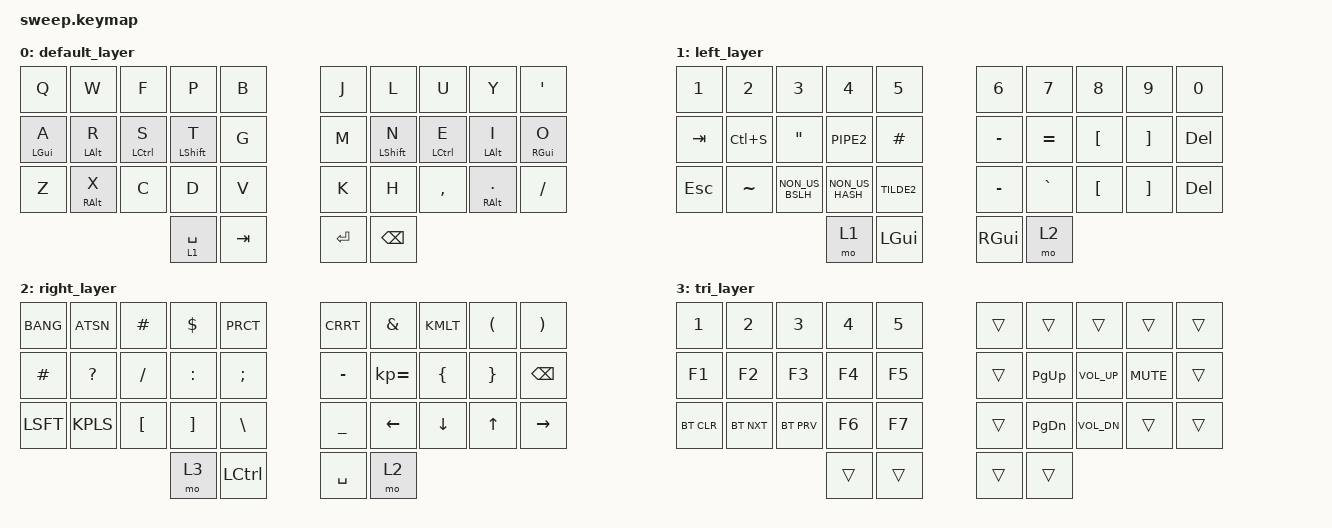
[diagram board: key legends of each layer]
/*
 * Copyright (c) 2020 The ZMK Contributors
 *
 * SPDX-License-Identifier: MIT
 */

#include <behaviors.dtsi>
#include <dt-bindings/zmk/keys.h>
#include <dt-bindings/zmk/bt.h>

/ {
	behaviors {
		hm: homerow_mods {
			compatible = "zmk,behavior-hold-tap";
			label = "HOMEROW_MODS";
			#binding-cells = <2>;
			tapping-term-ms = <150>;
			quick-tap-ms = <0>;
			flavor = "tap-preferred";
			bindings = <&kp>, <&kp>;
		};
	};
};

&mt {
	// flavor = "tap-preferred";
	// tapping_term_ms = <200>;
};

/ {
	combos {
		compatible = "zmk,combos";
		combo_esc {
			timeout-ms = <50>;
			key-positions = <0 1>;
			bindings = <&kp ESC>;
		};

		combo_tab {
			timeout-ms = <50>;
			key-positions = <10 11>;
			bindings = <&kp TAB>;
		};

		combo_ralt {
			timeout-ms = <50>;
			key-positions = <17 16>;
			bindings = <&kp RALT>;
		};

		combo_lalt {
			timeout-ms = <50>;
			key-positions = <11 12>;
			bindings = <&kp LALT>;
		};

		combo_lgui {
			timeout-ms = <50>;
			key-positions = <12 13>;
			bindings = <&kp LGUI>;
		};

		combo_rgui {
			timeout-ms = <50>;
			key-positions = <17 18>;
			bindings = <&kp RGUI>;
		};
	};

	keymap {
		compatible = "zmk,keymap";

		default_layer {
			bindings = <
				&kp Q 		&kp W		&kp F		&kp P		&kp B		&kp J	&kp L		&kp U			&kp Y			&kp APOS
				&hm LGUI A	&hm LALT R	&hm LCTRL S	&hm LSHFT T	&kp G		&kp M	&hm LSHFT N	&hm LCTRL E		&hm LALT I		&hm RGUI O
				&kp Z		&hm RALT X	&kp C		&kp D		&kp V		&kp K	&kp H		&kp CMMA		&hm RALT DOT	&kp FSLH
													&lt 1 SPC	&kp TAB  	&kp RET	&kp BKSP
			>;
		};

		left_layer {
			bindings = <
				&kp NUM_1	&kp NUM_2	&kp NUM_3		&kp NUM_4		&kp NUM_5	&kp NUM_6	&kp NUM_7	&kp NUM_8	&kp NUM_9	&kp NUM_0
				&kp TAB		&kp LC(S)	&kp DQT			&kp PIPE2		&kp HASH	&kp MINUS	&kp EQL		&kp LBKT	&kp RBKT	&kp DEL
				&kp ESC		&kp TILDE	&kp NON_US_BSLH	&kp NON_US_HASH	&kp TILDE2	&kp MINUS	&kp GRAVE	&kp LBKT	&kp RBKT	&kp DEL
														&mo 1			&kp LGUI	&kp RGUI	&mo 2
			>;
		};

		right_layer {
			bindings = <
				&kp BANG	&kp ATSN	&kp HASH	&kp DLLR	&kp PRCT		&kp CRRT	&kp AMPS		&kp KMLT	&kp LPRN	&kp RPRN
				&kp HASH	&kp QMARK	&kp FSLH	&kp COLN	&kp SCLN		&kp MINUS	&kp KP_EQUAL	&kp LBRC	&kp RBRC	&kp BKSP
				&kp LSFT	&kp KPLS	&kp LBKT	&kp RBKT	&kp BSLH		&kp UNDER	&kp LEFT		&kp DOWN	&kp UP		&kp RIGHT
													&mo 3		&kp LCTL		&kp SPC		&mo 2
			>;
		};

		tri_layer {
			bindings = <
				&kp NUM_1	&kp NUM_2	&kp NUM_3	&kp NUM_4	&kp NUM_5		&trans	&trans		&trans			&trans		&trans
				&kp F1		&kp F2		&kp F3		&kp F4		&kp F5			&trans	&kp PG_UP	&kp K_VOL_UP	&kp K_MUTE	&trans
				&bt BT_CLR	&bt BT_NXT	&bt BT_PRV	&kp F6		&kp F7			&trans	&kp PG_DN	&kp K_VOL_DN	&trans		&trans
													&trans		&trans			&trans	&trans
			>;
		};
	};
};
